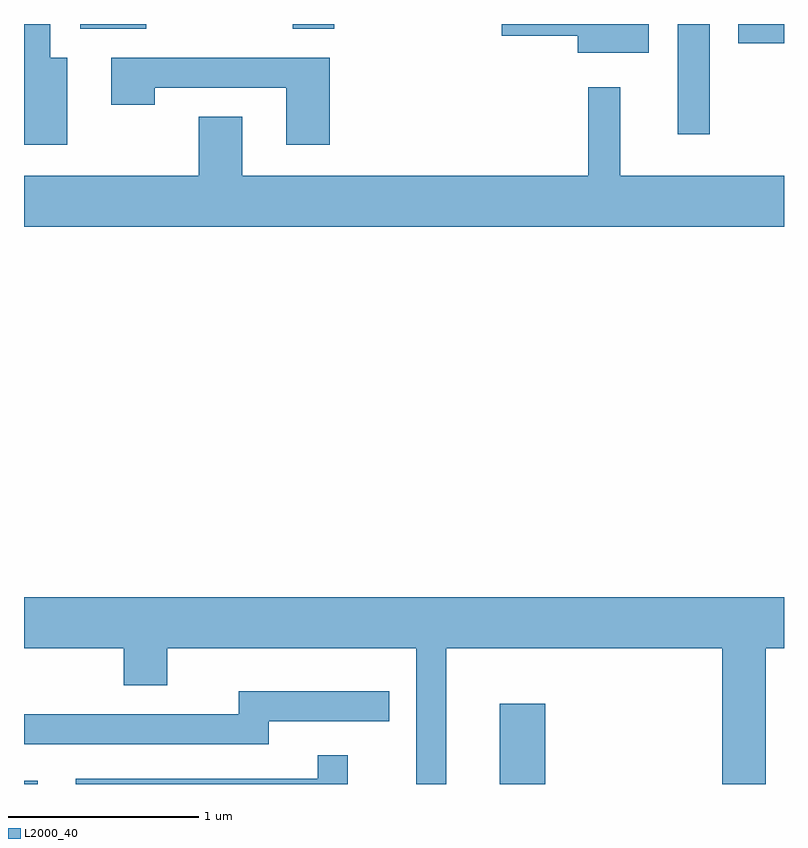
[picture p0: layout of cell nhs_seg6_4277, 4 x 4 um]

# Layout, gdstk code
import gdstk
lib = gdstk.Library(unit=1e-6, precision=1e-09)
def R(c, l, rs):  # rectangles x0, y0, x1, y1
    for r in rs: c.add(gdstk.rectangle(r[:2], r[2:], *l))
def P(c, l, *ps):  # polygons
    for p in ps: c.add(gdstk.Polygon(p, *l))
L2000_40 = (2000, 40)

nhs_seg6_4277 = lib.new_cell('nhs_seg6_4277')
R(nhs_seg6_4277, L2000_40, [(315.611,1598.162,315.683,1598.179), (318.116,1598.162,318.354,1598.584), (319.051,1601.583,319.219,1602.162), (319.371,1602.061,319.611,1602.162), (315.906,1602.136,316.254,1602.162), (317.026,1602.136,317.244,1602.162)])
P(nhs_seg6_4277, L2000_40, [(318.899,1602.162),(318.126,1602.162),(318.126,1602.101),(318.526,1602.101),(318.526,1602.011),(318.899,1602.011)],
  [(315.839,1601.984),(315.749,1601.984),(315.749,1602.162),(315.611,1602.162),(315.611,1601.526),(315.839,1601.526)],
  [(317.219,1601.984),(316.071,1601.984),(316.071,1601.736),(316.299,1601.736),(316.299,1601.826),(316.991,1601.826),(316.991,1601.526),(317.219,1601.526)],
  [(319.611,1601.364),(318.749,1601.364),(318.749,1601.828),(318.581,1601.828),(318.581,1601.364),(316.759,1601.364),(316.759,1601.674),(316.531,1601.674),(316.531,1601.364),(315.611,1601.364),(315.611,1601.096),(319.611,1601.096)],
  [(317.834,1598.876),(319.286,1598.876),(319.286,1598.162),(319.514,1598.162),(319.514,1598.876),(319.611,1598.876),(319.611,1599.144),(315.611,1599.144),(315.611,1598.876),(316.136,1598.876),(316.136,1598.681),(316.364,1598.681),(316.364,1598.876),(317.676,1598.876),(317.676,1598.162),(317.834,1598.162)],
  [(316.899,1598.491),(317.533,1598.491),(317.533,1598.649),(316.741,1598.649),(316.741,1598.529),(315.611,1598.529),(315.611,1598.371),(316.899,1598.371)],
  [(317.314,1598.313),(317.156,1598.313),(317.156,1598.189),(315.883,1598.189),(315.883,1598.162),(317.314,1598.162)])

lib.write_gds('nhs_seg6_4277.gds')
